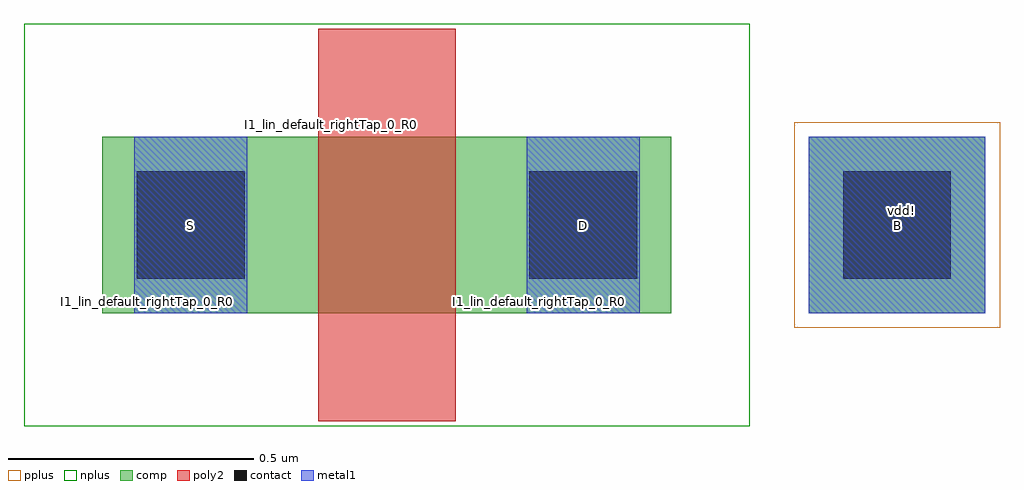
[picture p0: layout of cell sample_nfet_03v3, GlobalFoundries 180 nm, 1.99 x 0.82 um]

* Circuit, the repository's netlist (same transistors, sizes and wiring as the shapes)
* Copyright 2022 GlobalFoundries PDK Authors
*
* Licensed under the Apache License, Version 2.0 (the "License");
* you may not use this file except in compliance with the License.
* You may obtain a copy of the License at
*
*     https://www.apache.org/licenses/LICENSE-2.0
*
* Unless required by applicable law or agreed to in writing, software
* distributed under the License is distributed on an "AS IS" BASIS,
* WITHOUT WARRANTIES OR CONDITIONS OF ANY KIND, either express or implied.
* See the License for the specific language governing permissions and
* limitations under the License.

** Circuit sample_nfet_03v3

.subckt sample_nfet_03v3 I1_default_D I1_default_G I1_default_S vdd!
MI1_default I1_default_D I1_default_G I1_default_S vdd! nfet_03v3 m=1 w=360e-9
+ l=280n nf=1 as=158.4e-15 ad=158.4e-15 ps=1.6e-6 pd=1.6e-6 nrd=1.222222
+ nrs=1.222222 sa=0.440u sb=0.440u sd=0u dtemp=0 par=1
.ends

.end

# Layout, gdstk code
import gdstk
lib = gdstk.Library(unit=1e-6, precision=5e-09)
def R(c, l, rs):  # rectangles x0, y0, x1, y1
    for r in rs: c.add(gdstk.rectangle(r[:2], r[2:], *l))
comp = (22, 0)
poly2 = (30, 0)
pplus = (31, 0)
nplus = (32, 0)
contact = (33, 0)
metal1 = (34, 0)

sample_nfet_03v3 = lib.new_cell('sample_nfet_03v3')
R(sample_nfet_03v3, comp, [(0.16,24.4,0.52,24.76), (0.16,24.4,1.32,24.76), (0.96,24.4,1.32,24.76), (1.6,24.4,1.96,24.76)])
R(sample_nfet_03v3, poly2, [(0.6,24.18,0.88,24.98), (0.6,24.76,0.88,24.98), (0.6,24.76,0.65,24.81)])
R(sample_nfet_03v3, pplus, [(1.57,24.37,1.99,24.79)])
R(sample_nfet_03v3, nplus, [(0,24.17,1.48,24.99)])
R(sample_nfet_03v3, contact, [(0.23,24.47,0.45,24.69), (1.03,24.47,1.25,24.69), (1.67,24.47,1.89,24.69)])
R(sample_nfet_03v3, metal1, [(0.225,24.4,0.455,24.76), (0.225,24.4,0.455,24.76), (1.025,24.4,1.255,24.76), (1.025,24.4,1.255,24.76), (1.6,24.4,1.96,24.76)])
sample_nfet_03v3.add(gdstk.Label('B', (1.78,24.58), layer=34, texttype=0))
sample_nfet_03v3.add(gdstk.Label('D', (1.14,24.58), layer=34, texttype=0))
sample_nfet_03v3.add(gdstk.Label('S', (0.34,24.58), layer=34, texttype=0))
sample_nfet_03v3.add(gdstk.Label('vdd!', (1.79,24.61), layer=34, texttype=10))
sample_nfet_03v3.add(gdstk.Label('I1_lin_default_rightTap_0_R0_S', (0.25,24.425), layer=34, texttype=10))
sample_nfet_03v3.add(gdstk.Label('I1_lin_default_rightTap_0_R0_D', (1.05,24.425), layer=34, texttype=10))
sample_nfet_03v3.add(gdstk.Label('I1_lin_default_rightTap_0_R0_G', (0.625,24.785), layer=30, texttype=10))

lib.write_gds('sample_nfet_03v3.gds')
